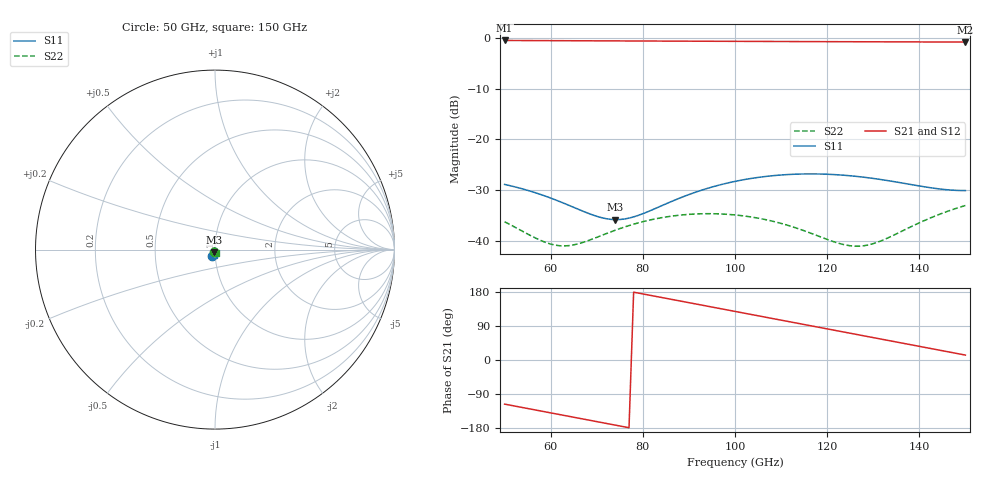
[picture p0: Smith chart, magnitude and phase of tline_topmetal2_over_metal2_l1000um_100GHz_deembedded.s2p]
! Created with skrf 2.0.1 (http://scikit-rf.org).
# GHz S DB R 50.0
!freq dBS11 angS11 dBS21 angS21 dBS12 angS12 dBS22 angS22
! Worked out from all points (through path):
!   101 points, 50 GHz to 150 GHz, reference 50 ohm
!   highest |S21| = -0.54 dB at 50 GHz (marker M1); lowest = -0.9 dB at 150 GHz (marker M2)
!   group delay of S21, straight-line fit = 6.4 ps
!   lowest |S11| = -35.8 dB at 74 GHz (marker M3), VSWR 1.03, Z = 49.6 - j1.58 ohm
!   |S11| at or under -10 dB: start of sweep to end of sweep
!   |S22| runs from -41.0 to -33.0 dB; largest |S21 - S12| = 1.6e-13
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50  -28.86 -113.8  -0.54 -116.4  -0.54 -116.4  -36.20 -115.0
55  -30.03 -120.5  -0.56 -128.0  -0.56 -128.0  -38.62 -115.7
60  -31.54 -124.3  -0.58 -139.5  -0.58 -139.5  -40.59 -106.9
63  -32.61 -124.5  -0.59 -146.4  -0.59 -146.4  -40.95 -98.3
67  -34.12 -121.0  -0.61 -155.7  -0.61 -155.7  -40.26 -88.9
71  -35.39 -111.9  -0.62 -164.9  -0.62 -164.9  -38.91 -85.8
74  -35.78 -101.9  -0.63 -171.8  -0.63 -171.8  -37.87 -87.1
78  -35.25 -88.3  -0.64 179.0  -0.64 179.0  -36.68 -92.2
84  -33.08 -76.6  -0.66 165.1  -0.66 165.1  -35.41 -104.5
92  -30.22 -75.6  -0.69 146.7  -0.69 146.7  -34.65 -125.5
100  -28.26 -81.9  -0.72 128.2  -0.72 128.2  -34.87 -150.4
105  -27.48 -87.2  -0.73 116.7  -0.73 116.7  -35.49 -168.0
109  -27.08 -91.7  -0.75 107.5  -0.75 107.5  -36.29 176.4
113  -26.85 -96.2  -0.76 98.3  -0.76 98.3  -37.35 158.7
117  -26.79 -100.5  -0.77 89.1  -0.77 89.1  -38.64 137.9
123  -27.01 -106.3  -0.79 75.2  -0.79 75.2  -40.56 97.4
126  -27.25 -108.6  -0.79 68.3  -0.79 68.3  -41.01 72.4
130  -27.68 -110.9  -0.81 59.1  -0.81 59.1  -40.51 37.9
134  -28.23 -112.0  -0.82 49.9  -0.82 49.9  -39.03 7.5
142  -29.45 -109.1  -0.84 31.4  -0.84 31.4  -35.61 -38.2
146  -29.90 -104.8  -0.85 22.2  -0.85 22.2  -34.19 -56.4
150  -30.07 -99.1  -0.86 13.0  -0.86 13.0  -33.01 -73.2
